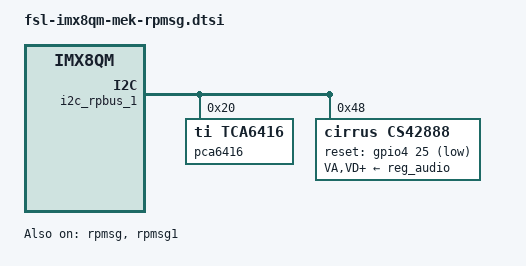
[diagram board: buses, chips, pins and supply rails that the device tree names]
/*
 * Copyright 2019 NXP
 *
 * This program is free software; you can redistribute it and/or
 * modify it under the terms of the GNU General Public License
 * as published by the Free Software Foundation; either version 2
 * of the License, or (at your option) any later version.
 *
 * This program is distributed in the hope that it will be useful,
 * but WITHOUT ANY WARRANTY; without even the implied warranty of
 * MERCHANTABILITY or FITNESS FOR A PARTICULAR PURPOSE.  See the
 * GNU General Public License for more details.
 */

#include "fsl-imx8qm-mek.dtsi"

/delete-node/ &i2c0_cm41;

&i2c_rpbus_1 {
	#address-cells = <1>;
	#size-cells = <0>;
	status = "okay";

	pca6416: gpio@20 {
		compatible = "ti,tca6416";
		reg = <0x20>;
		gpio-controller;
		#gpio-cells = <2>;
	};

	cs42888: cs42888@48 {
		compatible = "cirrus,cs42888";
		reg = <0x48>;
		clocks = <&clk IMX8QM_AUD_MCLKOUT0>;
		clock-names = "mclk";
		VA-supply = <&reg_audio>;
		VD-supply = <&reg_audio>;
		VLS-supply = <&reg_audio>;
		VLC-supply = <&reg_audio>;
		reset-gpio = <&gpio4 25 1>;
		power-domains = <&pd_mclk_out0>;
		assigned-clocks = <&clk IMX8QM_AUD_PLL0_DIV>,
				<&clk IMX8QM_AUD_ACM_AUD_PLL_CLK0_DIV>,
				<&clk IMX8QM_AUD_ACM_AUD_REC_CLK0_DIV>,
				<&clk IMX8QM_AUD_MCLKOUT0>;
		assigned-clock-rates = <786432000>, <49152000>, <12288000>, <12288000>;
		fsl,txs-rxm;
		status = "okay";
	};
};

&rpmsg{
	/*
	 * 64K for one rpmsg instance:
	 */
	vdev-nums = <2>;
	reg = <0x0 0x90000000 0x0 0x20000>;
	status = "okay";
};

&rpmsg1{
	/*
	 * 64K for one rpmsg instance, using 2 instance
	 * 0x90110000 - 0x9011FFFF: audio
	 */
	vdev-nums = <2>;
	reg = <0x0 0x90100000 0x0 0x20000>;
	status = "okay";
};

&reg_can01_en {
	status = "disabled";
};

&reg_can2_en {
	status = "disabled";
};

&reg_can01_stby {
	status = "disabled";
};

&reg_can2_stby {
	status = "disabled";
};

&intmux_cm41 {
	status = "disabled";
};

&intmux_cm40 {
	status = "disabled";
};

&flexcan1 {
	status = "disabled";
};

&flexcan2 {
	status = "disabled";
};

&flexcan3 {
	status = "disabled";
};

&flexspi0 {
	status = "disabled";
};
